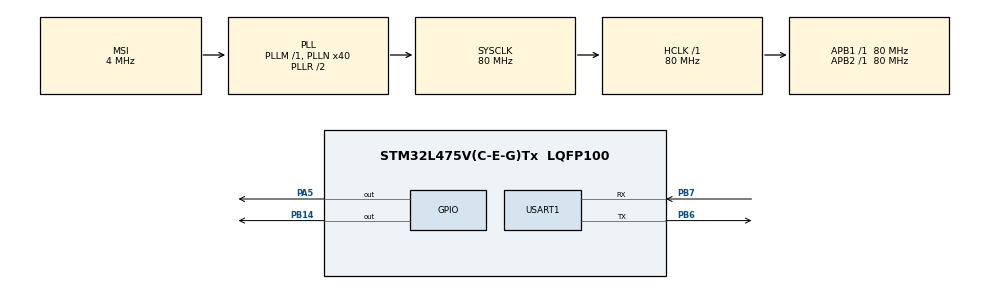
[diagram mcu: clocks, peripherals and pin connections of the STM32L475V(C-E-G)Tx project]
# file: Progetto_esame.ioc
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Mcu.Family=STM32L4
Mcu.Name=STM32L475V(C-E-G)Tx
Mcu.Package=LQFP100
NVIC.PriorityGroup=NVIC_PRIORITYGROUP_4
NVIC.TIM1_UP_TIM16_IRQn=true\:15\:0\:false\:false\:true\:false\:true\:true
NVIC.TimeBase=TIM1_UP_TIM16_IRQn
NVIC.TimeBaseIP=TIM1
PA5.Signal=GPIO_Output
PB14.Signal=GPIO_Output
PB6.Mode=Asynchronous
PB6.Signal=USART1_TX
PB7.Mode=Asynchronous
PB7.Signal=USART1_RX
ProjectManager.HeapSize=0x200
ProjectManager.StackSize=0x400
ProjectManager.TargetToolchain=STM32CubeIDE
RCC.ADCFreq_Value=48000000
RCC.AHBFreq_Value=80000000
RCC.APB1Freq_Value=80000000
RCC.APB1TimFreq_Value=80000000
RCC.APB2Freq_Value=80000000
RCC.APB2TimFreq_Value=80000000
RCC.CortexFreq_Value=80000000
RCC.HCLKFreq_Value=80000000
RCC.HSE_VALUE=8000000
RCC.HSI_VALUE=16000000
RCC.LSE_VALUE=32768
RCC.MSI_VALUE=4000000
RCC.PLLN=40
RCC.PLLSAI1N=24
RCC.SYSCLKFreq_VALUE=80000000
RCC.SYSCLKSource=RCC_SYSCLKSOURCE_PLLCLK
RCC.USBFreq_Value=48000000
RCC.VCOOutputFreq_Value=160000000
USART1.VirtualMode-Asynchronous=VM_ASYNC
VP_SYS_VS_tim1.Mode=TIM1
board=B-L475E-IOT01A2

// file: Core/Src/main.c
/* USER CODE BEGIN Header */
/**
  ******************************************************************************
  * @file           : main.c
  * @brief          : Main program body
  ******************************************************************************
  * @attention
  *
  * <h2><center>&copy; Copyright (c) 2022 STMicroelectronics.
  * All rights reserved.</center></h2>
  *
  * This software component is licensed by ST under BSD 3-Clause license,
  * the "License"; You may not use this file except in compliance with the
  * License. You may obtain a copy of the License at:
  *                        opensource.org/licenses/BSD-3-Clause
  *
  ******************************************************************************
  */
/* USER CODE END Header */
#include "main.h"

/* USER CODE BEGIN Includes */
#include "stm32l475e_iot01_accelero.h"
#include "stm32l475e_iot01_gyro.h"
#include "stm32l475e_iot01.h"
#include <math.h>
#include <stdio.h>

/* USER CODE END Includes */

/* USER CODE BEGIN PD */
/* USER CODE BEGIN PD */
/* from mG/LSB to G/LSB and from mdps/LSB to dps/LSB */
#define SCALE_MULTIPLIER 1000

#define LED_PIN GPIO_PIN_5
#define LED_PORT GPIOA

/* ACC VALUES: 2G = 0.061, 4G = 0.122, 8G = 0.244, 16G = 0.488
#define ACC_SENSITIVITY 0.061 */

/* GYRO VALUES: 245mdps = 8.75, 500mdps = 17.50, 1000mdps = 35, 2000mdps = 70
#define GYRO_SENSITIVITY 70 */

#define ACC_THRESHOLD 1050.0 // Acc threshold
#define GYRO_THRESHOLD 3.0 // gyro threshold
/* USER CODE END PD */

UART_HandleTypeDef huart1;

void SystemClock_Config(void);
static void MX_GPIO_Init(void);
static void MX_USART1_UART_Init(void);

int main(void)
{
  /* USER CODE BEGIN 1 */
	int16_t A[3] = {0};
	float G[3] = {0}, gyro_values[3] = {0}, acc_values[3] = {0};
	float stringa[100] = {0};
	double acc_norm = 0, gyro_norm = 0;
	int i;
  /* USER CODE END 1 */

  /* MCU Configuration--------------------------------------------------------*/

  /* Reset of all peripherals, Initializes the Flash interface and the Systick. */
  HAL_Init();

  /* Configure the system clock */
  SystemClock_Config();

  /* Initialize all configured peripherals */
  MX_GPIO_Init();
  MX_USART1_UART_Init();
  /* USER CODE BEGIN 2 */
  BSP_ACCELERO_Init();
  BSP_GYRO_Init();
  HAL_UART_Init(&huart1);
  /* USER CODE END 2 */

  /* Infinite loop */
  /* USER CODE BEGIN WHILE */
  while (1)
  {
	  // get values from Accelerator and Gyroscope:
	  BSP_ACCELERO_AccGetXYZ(A);
	  BSP_GYRO_GetXYZ(G);

	  /* to set the accelero sensitivity, go to stm32l475e_iot01_accelero.c line 68 and set 2,4,8,16 g;
	   *
	   * to set the gyro sensitivity, go to stm32l475e_iot01_gyro.c line 74 and set 245, 500, 1000, 2000
	   * mdps*/

	  /* scale multiplier and division by 1000 to get the G-format, same with gyro, add pow2 to norms:
	   * (maybe useless, lsm6dsl.c already sets sensitivity levels)*/
	  for (i = 0; i < 3; i++) {
		  acc_values[i] = A[i];
		  acc_norm += pow((double) acc_values[i], (double) 2);
	  }
	  for (i = 0; i < 3; i++) {
		  gyro_values[i] = G[i] / SCALE_MULTIPLIER;
		  gyro_norm += pow((double) gyro_values[i], (double) 2);
	  }

	  // Get the norm of the vectors to find magnitude:
	  	 acc_norm = sqrt(acc_norm);
	  	 gyro_norm = sqrt(gyro_norm);

	  // Write into the buffer:
	  sprintf(stringa, "$%f %f;", acc_norm, gyro_norm);

	  // Transmit data to UART (plotter):
	  HAL_UART_Transmit(&huart1, stringa, sizeof(stringa), 1000);
	  HAL_Delay(1000);

	  // Check values and turn on leds if values > thresholds:
	  if ((acc_norm > ACC_THRESHOLD) || (gyro_norm > GYRO_THRESHOLD)){
		  HAL_GPIO_WritePin(GPIOB, GPIO_PIN_14, GPIO_PIN_SET);
		  HAL_GPIO_WritePin(GPIOA, GPIO_PIN_5, GPIO_PIN_SET);
		  HAL_Delay(200);
	  	  }
	  else {
		  HAL_GPIO_WritePin(GPIOB, GPIO_PIN_14, GPIO_PIN_RESET);
		  HAL_GPIO_WritePin(GPIOA, GPIO_PIN_5, GPIO_PIN_RESET);
	  }

	  // Re-init string and norms
	  stringa[0] = 0;
	  acc_norm = 0;
	  gyro_norm = 0;
    /* USER CODE END WHILE */

  }
}

void SystemClock_Config(void)
{
  RCC_OscInitTypeDef RCC_OscInitStruct = {0};
  RCC_ClkInitTypeDef RCC_ClkInitStruct = {0};

  /** Configure the main internal regulator output voltage
  */
  if (HAL_PWREx_ControlVoltageScaling(PWR_REGULATOR_VOLTAGE_SCALE1) != HAL_OK)
  {
    Error_Handler();
  }
  /** Initializes the RCC Oscillators according to the specified parameters
  * in the RCC_OscInitTypeDef structure.
  */
  RCC_OscInitStruct.OscillatorType = RCC_OSCILLATORTYPE_MSI;
  RCC_OscInitStruct.MSIState = RCC_MSI_ON;
  RCC_OscInitStruct.MSICalibrationValue = 0;
  RCC_OscInitStruct.MSIClockRange = RCC_MSIRANGE_6;
  RCC_OscInitStruct.PLL.PLLState = RCC_PLL_ON;
  RCC_OscInitStruct.PLL.PLLSource = RCC_PLLSOURCE_MSI;
  RCC_OscInitStruct.PLL.PLLM = 1;
  RCC_OscInitStruct.PLL.PLLN = 40;
  RCC_OscInitStruct.PLL.PLLP = RCC_PLLP_DIV7;
  RCC_OscInitStruct.PLL.PLLQ = RCC_PLLQ_DIV2;
  RCC_OscInitStruct.PLL.PLLR = RCC_PLLR_DIV2;
  if (HAL_RCC_OscConfig(&RCC_OscInitStruct) != HAL_OK)
  {
    Error_Handler();
  }
  /** Initializes the CPU, AHB and APB buses clocks
  */
  RCC_ClkInitStruct.ClockType = RCC_CLOCKTYPE_HCLK|RCC_CLOCKTYPE_SYSCLK
                              |RCC_CLOCKTYPE_PCLK1|RCC_CLOCKTYPE_PCLK2;
  RCC_ClkInitStruct.SYSCLKSource = RCC_SYSCLKSOURCE_PLLCLK;
  RCC_ClkInitStruct.AHBCLKDivider = RCC_SYSCLK_DIV1;
  RCC_ClkInitStruct.APB1CLKDivider = RCC_HCLK_DIV1;
  RCC_ClkInitStruct.APB2CLKDivider = RCC_HCLK_DIV1;

  if (HAL_RCC_ClockConfig(&RCC_ClkInitStruct, FLASH_LATENCY_4) != HAL_OK)
  {
    Error_Handler();
  }
}

static void MX_USART1_UART_Init(void)
{

  huart1.Instance = USART1;
  huart1.Init.BaudRate = 115200;
  huart1.Init.WordLength = UART_WORDLENGTH_8B;
  huart1.Init.StopBits = UART_STOPBITS_1;
  huart1.Init.Parity = UART_PARITY_NONE;
  huart1.Init.Mode = UART_MODE_TX_RX;
  huart1.Init.HwFlowCtl = UART_HWCONTROL_NONE;
  huart1.Init.OverSampling = UART_OVERSAMPLING_16;
  huart1.Init.OneBitSampling = UART_ONE_BIT_SAMPLE_DISABLE;
  huart1.AdvancedInit.AdvFeatureInit = UART_ADVFEATURE_NO_INIT;
  if (HAL_UART_Init(&huart1) != HAL_OK)
  {
    Error_Handler();
  }

}

static void MX_GPIO_Init(void)
{
  GPIO_InitTypeDef GPIO_InitStruct = {0};

  /* GPIO Ports Clock Enable */
  __HAL_RCC_GPIOA_CLK_ENABLE();
  __HAL_RCC_GPIOB_CLK_ENABLE();

  /*Configure GPIO pin Output Level */
  HAL_GPIO_WritePin(GPIOA, GPIO_PIN_5, GPIO_PIN_RESET);

  /*Configure GPIO pin Output Level */
  HAL_GPIO_WritePin(GPIOB, GPIO_PIN_14, GPIO_PIN_RESET);

  /*Configure GPIO pin : PA5 */
  GPIO_InitStruct.Pin = GPIO_PIN_5;
  GPIO_InitStruct.Mode = GPIO_MODE_OUTPUT_PP;
  GPIO_InitStruct.Pull = GPIO_NOPULL;
  GPIO_InitStruct.Speed = GPIO_SPEED_FREQ_LOW;
  HAL_GPIO_Init(GPIOA, &GPIO_InitStruct);

  /*Configure GPIO pin : PB14 */
  GPIO_InitStruct.Pin = GPIO_PIN_14;
  GPIO_InitStruct.Mode = GPIO_MODE_OUTPUT_PP;
  GPIO_InitStruct.Pull = GPIO_NOPULL;
  GPIO_InitStruct.Speed = GPIO_SPEED_FREQ_LOW;
  HAL_GPIO_Init(GPIOB, &GPIO_InitStruct);

}

void HAL_TIM_PeriodElapsedCallback(TIM_HandleTypeDef *htim)
{
  /* USER CODE BEGIN Callback 0 */
	//if (htim == &htim2)
	    //{
	        // Il timer TIM2 è scattato, il microcontrollore si sveglia da Sleep
	    //}
  /* USER CODE END Callback 0 */
  if (htim->Instance == TIM1) {
    HAL_IncTick();
  }
}

void Error_Handler(void)
{
  __disable_irq();
  while (1)
  {
  }
}

/************************ (C) COPYRIGHT STMicroelectronics *****END OF FILE****/
